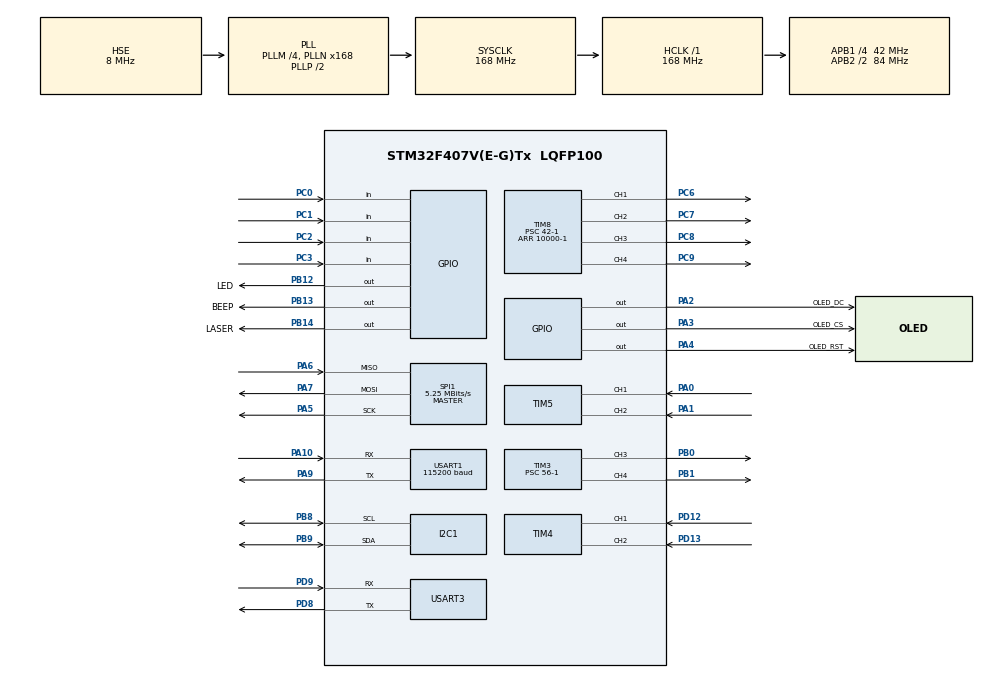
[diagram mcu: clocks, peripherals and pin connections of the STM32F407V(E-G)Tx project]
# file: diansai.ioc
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Dma.Request0=USART1_RX
Dma.Request1=USART1_TX
Dma.Request2=USART3_RX
Dma.USART1_RX.0.Direction=DMA_PERIPH_TO_MEMORY
Dma.USART1_RX.0.FIFOMode=DMA_FIFOMODE_DISABLE
Dma.USART1_RX.0.Instance=DMA2_Stream2
Dma.USART1_RX.0.MemDataAlignment=DMA_MDATAALIGN_BYTE
Dma.USART1_RX.0.MemInc=DMA_MINC_ENABLE
Dma.USART1_RX.0.Mode=DMA_NORMAL
Dma.USART1_RX.0.PeriphDataAlignment=DMA_PDATAALIGN_BYTE
Dma.USART1_RX.0.PeriphInc=DMA_PINC_DISABLE
Dma.USART1_RX.0.Priority=DMA_PRIORITY_LOW
Dma.USART1_TX.1.Direction=DMA_MEMORY_TO_PERIPH
Dma.USART1_TX.1.FIFOMode=DMA_FIFOMODE_DISABLE
Dma.USART1_TX.1.Instance=DMA2_Stream7
Dma.USART1_TX.1.MemDataAlignment=DMA_MDATAALIGN_BYTE
Dma.USART1_TX.1.MemInc=DMA_MINC_ENABLE
Dma.USART1_TX.1.Mode=DMA_NORMAL
Dma.USART1_TX.1.PeriphDataAlignment=DMA_PDATAALIGN_BYTE
Dma.USART1_TX.1.PeriphInc=DMA_PINC_DISABLE
Dma.USART1_TX.1.Priority=DMA_PRIORITY_LOW
Dma.USART3_RX.2.Direction=DMA_PERIPH_TO_MEMORY
Dma.USART3_RX.2.FIFOMode=DMA_FIFOMODE_DISABLE
Dma.USART3_RX.2.Instance=DMA1_Stream1
Dma.USART3_RX.2.MemDataAlignment=DMA_MDATAALIGN_BYTE
Dma.USART3_RX.2.MemInc=DMA_MINC_ENABLE
Dma.USART3_RX.2.Mode=DMA_NORMAL
Dma.USART3_RX.2.PeriphDataAlignment=DMA_PDATAALIGN_BYTE
Dma.USART3_RX.2.PeriphInc=DMA_PINC_DISABLE
Dma.USART3_RX.2.Priority=DMA_PRIORITY_LOW
FREERTOS.BinarySemaphores01=UartRecSem,Dynamic,NULL;CrossSem,Dynamic,NULL
FREERTOS.Tasks01=MotorTask,1,128,StartMotorTask,As weak,NULL,Dynamic,NULL,NULL;OledTask,0,128,StartOledTask,As weak,NULL,Dynamic,NULL,NULL;Uart1Task,1,128,StartUart1Task,As weak,NULL,Dynamic,NULL,NULL;mpu6050,0,128,Startmpu6050,As weak,NULL,Dynamic,NULL,NULL;ServoTask,1,128,StartServoTask,As weak,NULL,Dynamic,NULL,NULL;KeyTask,0,128,StartKeyTask,As weak,NULL,Dynamic,NULL,NULL;LedTask,0,128,StartLedTask,As weak,NULL,Dynamic,NULL,NULL
FREERTOS.configTICK_RATE_HZ=20
I2C1.I2C_Mode=I2C_Fast
Mcu.Family=STM32F4
Mcu.Name=STM32F407V(E-G)Tx
Mcu.Package=LQFP100
NVIC.DMA1_Stream1_IRQn=true\:5\:0\:false\:false\:true\:true\:false\:true
NVIC.DMA2_Stream2_IRQn=true\:5\:0\:false\:false\:true\:true\:true\:true
NVIC.DMA2_Stream7_IRQn=true\:5\:0\:false\:false\:true\:true\:false\:true
NVIC.PriorityGroup=NVIC_PRIORITYGROUP_4
NVIC.TIM1_UP_TIM10_IRQn=true\:15\:0\:false\:false\:true\:false\:false\:true
NVIC.TIM6_DAC_IRQn=true\:5\:0\:false\:false\:true\:true\:true\:true
NVIC.TimeBase=TIM1_UP_TIM10_IRQn
NVIC.TimeBaseIP=TIM1
NVIC.USART1_IRQn=true\:5\:0\:false\:false\:true\:true\:true\:true
NVIC.USART3_IRQn=true\:5\:0\:false\:false\:true\:true\:true\:true
PA0-WKUP.GPIO_PuPd=GPIO_PULLUP
PA0-WKUP.Signal=S_TIM5_CH1
PA1.GPIO_PuPd=GPIO_PULLUP
PA1.Signal=S_TIM5_CH2
PA10.GPIO_PuPd=GPIO_PULLUP
PA10.Mode=Asynchronous
PA10.Signal=USART1_RX
PA13.Mode=Serial_Wire
PA13.Signal=SYS_JTMS-SWDIO
PA14.Mode=Serial_Wire
PA14.Signal=SYS_JTCK-SWCLK
PA2.GPIO_Label=OLED_DC
PA2.GPIO_Speed=GPIO_SPEED_FREQ_HIGH
PA2.PinState=GPIO_PIN_SET
PA2.Signal=GPIO_Output
PA3.GPIO_Label=OLED_CS
PA3.GPIO_Speed=GPIO_SPEED_FREQ_HIGH
PA3.PinState=GPIO_PIN_SET
PA3.Signal=GPIO_Output
PA4.GPIO_Label=OLED_RST
PA4.GPIO_Speed=GPIO_SPEED_FREQ_HIGH
PA4.PinState=GPIO_PIN_SET
PA4.Signal=GPIO_Output
PA5.Mode=Full_Duplex_Master
PA5.Signal=SPI1_SCK
PA6.Mode=Full_Duplex_Master
PA6.Signal=SPI1_MISO
PA7.Mode=Full_Duplex_Master
PA7.Signal=SPI1_MOSI
PA9.Mode=Asynchronous
PA9.Signal=USART1_TX
PB0.Signal=S_TIM3_CH3
PB1.Signal=S_TIM3_CH4
PB12.GPIO_Label=LED
PB12.GPIO_PuPd=GPIO_PULLDOWN
PB12.Signal=GPIO_Output
PB13.GPIO_Label=BEEP
PB13.GPIO_PuPd=GPIO_PULLDOWN
PB13.Signal=GPIO_Output
PB14.GPIO_Label=LASER
PB14.GPIO_PuPd=GPIO_PULLDOWN
PB14.Signal=GPIO_Output
PB8.Mode=I2C
PB8.Signal=I2C1_SCL
PB9.Mode=I2C
PB9.Signal=I2C1_SDA
PC0.GPIO_Mode=GPIO_MODE_INPUT
PC0.GPIO_PuPd=GPIO_PULLUP
PC0.Signal=GPIO_Input
PC1.GPIO_Mode=GPIO_MODE_INPUT
PC1.GPIO_PuPd=GPIO_PULLUP
PC1.Signal=GPIO_Input
PC2.GPIO_Mode=GPIO_MODE_INPUT
PC2.GPIO_PuPd=GPIO_PULLUP
PC2.Signal=GPIO_Input
PC3.GPIO_Mode=GPIO_MODE_INPUT
PC3.GPIO_PuPd=GPIO_PULLUP
PC3.Signal=GPIO_Input
PC6.GPIO_PuPd=GPIO_PULLDOWN
PC6.Signal=S_TIM8_CH1
PC7.GPIO_PuPd=GPIO_PULLDOWN
PC7.Signal=S_TIM8_CH2
PC8.GPIO_PuPd=GPIO_PULLDOWN
PC8.Signal=S_TIM8_CH3
PC9.GPIO_PuPd=GPIO_PULLDOWN
PC9.Signal=S_TIM8_CH4
PD12.GPIO_PuPd=GPIO_PULLUP
PD12.Signal=S_TIM4_CH1
PD13.GPIO_PuPd=GPIO_PULLUP
PD13.Signal=S_TIM4_CH2
PD8.Mode=Asynchronous
PD8.Signal=USART3_TX
PD9.Mode=Asynchronous
PD9.Signal=USART3_RX
PH0-OSC_IN.Mode=HSE-External-Oscillator
PH0-OSC_IN.Signal=RCC_OSC_IN
PH1-OSC_OUT.Mode=HSE-External-Oscillator
PH1-OSC_OUT.Signal=RCC_OSC_OUT
ProjectManager.HeapSize=0x200
ProjectManager.StackSize=0x400
ProjectManager.TargetToolchain=MDK-ARM V5.27
RCC.48MHZClocksFreq_Value=84000000
RCC.AHBFreq_Value=168000000
RCC.APB1CLKDivider=RCC_HCLK_DIV4
RCC.APB1Freq_Value=42000000
RCC.APB1TimFreq_Value=84000000
RCC.APB2CLKDivider=RCC_HCLK_DIV2
RCC.APB2Freq_Value=84000000
RCC.APB2TimFreq_Value=168000000
RCC.CortexFreq_Value=168000000
RCC.HCLKFreq_Value=168000000
RCC.HSE_VALUE=8000000
RCC.HSI_VALUE=16000000
RCC.LSE_VALUE=32768
RCC.PLLM=4
RCC.PLLN=168
RCC.PLLSourceVirtual=RCC_PLLSOURCE_HSE
RCC.SYSCLKFreq_VALUE=168000000
RCC.SYSCLKSource=RCC_SYSCLKSOURCE_PLLCLK
RCC.VCOOutputFreq_Value=336000000
SH.S_TIM3_CH3.0=TIM3_CH3,PWM Generation3 CH3
SH.S_TIM3_CH4.0=TIM3_CH4,PWM Generation4 CH4
SH.S_TIM4_CH1.0=TIM4_CH1,Encoder_Interface
SH.S_TIM4_CH2.0=TIM4_CH2,Encoder_Interface
SH.S_TIM5_CH1.0=TIM5_CH1,Encoder_Interface
SH.S_TIM5_CH2.0=TIM5_CH2,Encoder_Interface
SH.S_TIM8_CH1.0=TIM8_CH1,PWM Generation1 CH1
SH.S_TIM8_CH2.0=TIM8_CH2,PWM Generation2 CH2
SH.S_TIM8_CH3.0=TIM8_CH3,PWM Generation3 CH3
SH.S_TIM8_CH4.0=TIM8_CH4,PWM Generation4 CH4
SPI1.BaudRatePrescaler=SPI_BAUDRATEPRESCALER_16
SPI1.CalculateBaudRate=5.25 MBits/s
SPI1.Direction=SPI_DIRECTION_2LINES
SPI1.Mode=SPI_MODE_MASTER
SPI1.VirtualType=VM_MASTER
TIM3.Channel-PWM\ Generation3\ CH3=TIM_CHANNEL_3
TIM3.Channel-PWM\ Generation4\ CH4=TIM_CHANNEL_4
TIM3.Period=30000-1
TIM3.Prescaler=56-1
TIM4.EncoderMode=TIM_ENCODERMODE_TI12
TIM5.EncoderMode=TIM_ENCODERMODE_TI12
TIM6.AutoReloadPreload=TIM_AUTORELOAD_PRELOAD_ENABLE
TIM6.Period=10000-1
TIM6.Prescaler=168-1
TIM8.Channel-PWM\ Generation1\ CH1=TIM_CHANNEL_1
TIM8.Channel-PWM\ Generation2\ CH2=TIM_CHANNEL_2
TIM8.Channel-PWM\ Generation3\ CH3=TIM_CHANNEL_3
TIM8.Channel-PWM\ Generation4\ CH4=TIM_CHANNEL_4
TIM8.Period=10000-1
TIM8.Prescaler=42-1
USART1.BaudRate=115200
USART1.VirtualMode=VM_ASYNC
USART3.VirtualMode=VM_ASYNC
VP_FREERTOS_VS_CMSIS_V1.Mode=CMSIS_V1
VP_SYS_VS_tim1.Mode=TIM1
VP_TIM3_VS_ClockSourceINT.Mode=Internal
VP_TIM6_VS_ClockSourceINT.Mode=Enable_Timer
VP_TIM8_VS_ClockSourceINT.Mode=Internal
board=custom

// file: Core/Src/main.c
/* USER CODE BEGIN Header */
/**
  ******************************************************************************
  * @file           : main.c
  * @brief          : Main program body
  ******************************************************************************
  * @attention
  *
  * Copyright (c) 2023 STMicroelectronics.
  * All rights reserved.
  *
  * This software is licensed under terms that can be found in the LICENSE file
  * in the root directory of this software component.
  * If no LICENSE file comes with this software, it is provided AS-IS.
  *
  ******************************************************************************
  */
/* USER CODE END Header */
#include "main.h"
#include "cmsis_os.h"
#include "dma.h"
#include "i2c.h"
#include "spi.h"
#include "tim.h"
#include "usart.h"
#include "gpio.h"

/* USER CODE BEGIN Includes */
#include "mpu6050.h"
#include "oled.h"
#include "pid.h"
#include "24l01.h"

//#include "mpu6050.h"
//#include "delay.h"
//#include "eMPL/inv_mpu.h"
//#include "eMPL/inv_mpu_dmp_motion_driver.h"

/* USER CODE END Includes */

void SystemClock_Config(void);
void MX_FREERTOS_Init(void);

int main(void)
{

  /* MCU Configuration--------------------------------------------------------*/

  /* Reset of all peripherals, Initializes the Flash interface and the Systick. */
  HAL_Init();

  /* Configure the system clock */
  SystemClock_Config();

  /* Initialize all configured peripherals */
  MX_GPIO_Init();
  MX_SPI1_Init();
  MX_TIM8_Init();
  MX_TIM4_Init();
  MX_USART1_UART_Init();
  MX_I2C1_Init();
  MX_TIM5_Init();
  MX_DMA_Init();
  MX_TIM6_Init();
  MX_TIM3_Init();
  MX_USART3_UART_Init();
  /* USER CODE BEGIN 2 */
	//MX_USART1_UART_Init和MX_DMA_Init位置需改变
	HAL_TIM_PWM_Start(&htim8,TIM_CHANNEL_1);
	HAL_TIM_PWM_Start(&htim8,TIM_CHANNEL_2);
	HAL_TIM_PWM_Start(&htim8,TIM_CHANNEL_3);
	HAL_TIM_PWM_Start(&htim8,TIM_CHANNEL_4);
	HAL_TIM_PWM_Start(&htim3,TIM_CHANNEL_3);
	HAL_TIM_PWM_Start(&htim3,TIM_CHANNEL_4);
	TIM3->CCR3 = 1400;//1584下 增大逆时针 1450右90 3400左90度
	TIM3->CCR4 = 2500;//2688上 900-2400 增大逆时针-固定端靠近一侧的视角
	HAL_TIM_Encoder_Start(&htim5,TIM_CHANNEL_1 | TIM_CHANNEL_2);
	HAL_TIM_Encoder_Start(&htim4,TIM_CHANNEL_1 | TIM_CHANNEL_2);
//	HAL_TIM_Base_Start_IT(&htim6);
	OLED_Init();
	HAL_GPIO_WritePin(LASER_GPIO_Port,LASER_Pin,GPIO_PIN_SET);
//	while (MPU6050_Init(&hi2c1) == 1){};

//	NRF24L01_Init();
//	while(NRF24L01_Check());
//	RX_Mode();

  /* USER CODE END 2 */

  /* Call init function for freertos objects (in freertos.c) */
  MX_FREERTOS_Init();
  /* Start scheduler */
  osKernelStart();

  /* We should never get here as control is now taken by the scheduler */
  /* Infinite loop */
  while (1)
  {

  }
}

void SystemClock_Config(void)
{
  RCC_OscInitTypeDef RCC_OscInitStruct = {0};
  RCC_ClkInitTypeDef RCC_ClkInitStruct = {0};

  /** Configure the main internal regulator output voltage
  */
  __HAL_RCC_PWR_CLK_ENABLE();
  __HAL_PWR_VOLTAGESCALING_CONFIG(PWR_REGULATOR_VOLTAGE_SCALE1);
  /** Initializes the RCC Oscillators according to the specified parameters
  * in the RCC_OscInitTypeDef structure.
  */
  RCC_OscInitStruct.OscillatorType = RCC_OSCILLATORTYPE_HSE;
  RCC_OscInitStruct.HSEState = RCC_HSE_ON;
  RCC_OscInitStruct.PLL.PLLState = RCC_PLL_ON;
  RCC_OscInitStruct.PLL.PLLSource = RCC_PLLSOURCE_HSE;
  RCC_OscInitStruct.PLL.PLLM = 4;
  RCC_OscInitStruct.PLL.PLLN = 168;
  RCC_OscInitStruct.PLL.PLLP = RCC_PLLP_DIV2;
  RCC_OscInitStruct.PLL.PLLQ = 4;
  if (HAL_RCC_OscConfig(&RCC_OscInitStruct) != HAL_OK)
  {
    Error_Handler();
  }
  /** Initializes the CPU, AHB and APB buses clocks
  */
  RCC_ClkInitStruct.ClockType = RCC_CLOCKTYPE_HCLK|RCC_CLOCKTYPE_SYSCLK
                              |RCC_CLOCKTYPE_PCLK1|RCC_CLOCKTYPE_PCLK2;
  RCC_ClkInitStruct.SYSCLKSource = RCC_SYSCLKSOURCE_PLLCLK;
  RCC_ClkInitStruct.AHBCLKDivider = RCC_SYSCLK_DIV1;
  RCC_ClkInitStruct.APB1CLKDivider = RCC_HCLK_DIV4;
  RCC_ClkInitStruct.APB2CLKDivider = RCC_HCLK_DIV2;

  if (HAL_RCC_ClockConfig(&RCC_ClkInitStruct, FLASH_LATENCY_5) != HAL_OK)
  {
    Error_Handler();
  }
}

void HAL_TIM_PeriodElapsedCallback(TIM_HandleTypeDef *htim)
{
  if (htim->Instance == TIM1) {
    HAL_IncTick();
  }
  /* USER CODE BEGIN Callback 1 */
//	if (htim->Instance == TIM6) {
//		PID_Loc(pid1,
//	}
  /* USER CODE END Callback 1 */
}

void Error_Handler(void)
{
  __disable_irq();
  while (1)
  {
  }
}

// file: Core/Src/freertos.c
/* USER CODE BEGIN Header */
/**
  ******************************************************************************
  * File Name          : freertos.c
  * Description        : Code for freertos applications
  ******************************************************************************
  * @attention
  *
  * Copyright (c) 2023 STMicroelectronics.
  * All rights reserved.
  *
  * This software is licensed under terms that can be found in the LICENSE file
  * in the root directory of this software component.
  * If no LICENSE file comes with this software, it is provided AS-IS.
  *
  ******************************************************************************
  */
/* USER CODE END Header */

#include "FreeRTOS.h"
#include "task.h"
#include "main.h"
#include "cmsis_os.h"

/* USER CODE BEGIN Includes */
#include "stdio.h"
#include "string.h"
#include "pid.h"
#include "usart.h"
#include "mpu6050.h"
#include "oled.h"
#include "motor.h"
#include "bsp_uart.h"
#include "encoder.h"
#include "mpu6050.h"
#include "key.h"
#include "control.h"
//#include "delay.h"
//#include "eMPL/inv_mpu.h"
//#include "eMPL/inv_mpu_dmp_motion_driver.h"

/* USER CODE END Includes */

/* USER CODE BEGIN Variables */

/*Structrue*/
Motor_t motor;
Encoder_t encoder;
MPU6050_t MPU6050;

pid_t pid_SERVOX;
pid_t pid_SERVOY;
pid_t pid_POINT;
pid_t pid_POINTX;
pid_t pid_POINTY;
Servo_t servo;
Point_t pos,LU,LD,RU,RD;

/*flag*/
uint8_t delay_flag = 0;
uint8_t rec_flag = 0;
uint8_t rec_ok_flag = 0;
uint8_t rx_ack = 0;
uint8_t task = 0;
uint8_t pause_flag = 0;
uint8_t reset_flag = 0;
uint8_t point_state = 0;

/*control*/
int Encoder_All_L = 0;
int Encoder_All_R = 0;
int dir_error = 0;
float angle = 0;
float servo_hori_error = 0;
float servo_vert_error = 0;

float servo_hori_all = 1400;
float servo_vert_all = 2500;
uint16_t servo_midx = 0;
uint16_t servo_midy = 0;
uint16_t servo_savex = 0;
uint16_t servo_savey = 0;
/*point*/

/*uart*/
uint8_t rx_len = 0;
uint8_t RxBuffer[255];

/* USER CODE END Variables */
osThreadId MotorTaskHandle;
osThreadId OledTaskHandle;
osThreadId Uart1TaskHandle;
osThreadId mpu6050Handle;
osThreadId ServoTaskHandle;
osThreadId KeyTaskHandle;
osThreadId LedTaskHandle;
osSemaphoreId UartRecSemHandle;
osSemaphoreId CrossSemHandle;

void StartMotorTask(void const * argument);
void StartOledTask(void const * argument);
void StartUart1Task(void const * argument);
void Startmpu6050(void const * argument);
void StartServoTask(void const * argument);
void StartKeyTask(void const * argument);
void StartLedTask(void const * argument);

void MX_FREERTOS_Init(void); /* (MISRA C 2004 rule 8.1) */

/* GetIdleTaskMemory prototype (linked to static allocation support) */
void vApplicationGetIdleTaskMemory( StaticTask_t **ppxIdleTaskTCBBuffer, StackType_t **ppxIdleTaskStackBuffer, uint32_t *pulIdleTaskStackSize );

/* USER CODE BEGIN GET_IDLE_TASK_MEMORY */
static StaticTask_t xIdleTaskTCBBuffer;
static StackType_t xIdleStack[configMINIMAL_STACK_SIZE];

void vApplicationGetIdleTaskMemory( StaticTask_t **ppxIdleTaskTCBBuffer, StackType_t **ppxIdleTaskStackBuffer, uint32_t *pulIdleTaskStackSize )
{
  *ppxIdleTaskTCBBuffer = &xIdleTaskTCBBuffer;
  *ppxIdleTaskStackBuffer = &xIdleStack[0];
  *pulIdleTaskStackSize = configMINIMAL_STACK_SIZE;
  /* place for user code */
}
/* USER CODE END GET_IDLE_TASK_MEMORY */

void MX_FREERTOS_Init(void) {
  /* USER CODE BEGIN Init */
	PID_SERVOX_Init(&pid_SERVOX);
	PID_SERVOX_Init(&pid_SERVOY);
	PID_SERVO_POINT_Init(&pid_POINT);
	PID_SERVO_POINTX_Init(&pid_POINTX);
	PID_SERVO_POINTY_Init(&pid_POINTY);
	MotorInit(&motor);
	Encoder_Init(&encoder);
  /* USER CODE END Init */

  /* Create the semaphores(s) */
  /* definition and creation of UartRecSem */
  osSemaphoreDef(UartRecSem);
  UartRecSemHandle = osSemaphoreCreate(osSemaphore(UartRecSem), 1);

  /* definition and creation of CrossSem */
  osSemaphoreDef(CrossSem);
  CrossSemHandle = osSemaphoreCreate(osSemaphore(CrossSem), 1);

  /* USER CODE BEGIN RTOS_SEMAPHORES */
  /* add semaphores, ... */
	//osSemaphoreWait(UartRecSemHandle,100);
	osSemaphoreWait(UartRecSemHandle,100);
  /* USER CODE END RTOS_SEMAPHORES */

  /* Create the thread(s) */
  /* definition and creation of MotorTask */
  osThreadDef(MotorTask, StartMotorTask, osPriorityAboveNormal, 0, 128);
  MotorTaskHandle = osThreadCreate(osThread(MotorTask), NULL);

  /* definition and creation of OledTask */
  osThreadDef(OledTask, StartOledTask, osPriorityNormal, 0, 128);
  OledTaskHandle = osThreadCreate(osThread(OledTask), NULL);

  /* definition and creation of Uart1Task */
  osThreadDef(Uart1Task, StartUart1Task, osPriorityAboveNormal, 0, 128);
  Uart1TaskHandle = osThreadCreate(osThread(Uart1Task), NULL);

  /* definition and creation of mpu6050 */
  osThreadDef(mpu6050, Startmpu6050, osPriorityNormal, 0, 128);
  mpu6050Handle = osThreadCreate(osThread(mpu6050), NULL);

  /* definition and creation of ServoTask */
  osThreadDef(ServoTask, StartServoTask, osPriorityAboveNormal, 0, 128);
  ServoTaskHandle = osThreadCreate(osThread(ServoTask), NULL);

  /* definition and creation of KeyTask */
  osThreadDef(KeyTask, StartKeyTask, osPriorityNormal, 0, 128);
  KeyTaskHandle = osThreadCreate(osThread(KeyTask), NULL);

  /* definition and creation of LedTask */
  osThreadDef(LedTask, StartLedTask, osPriorityNormal, 0, 128);
  LedTaskHandle = osThreadCreate(osThread(LedTask), NULL);

}

__weak void StartMotorTask(void const * argument)
{
  /* USER CODE BEGIN StartMotorTask */
	int v1,v2;
	static int i = 0;

  /* Infinite loop */
  for(;;)
  {
//		Encoder_All_L += encoder.Left;
//		Encoder_All_R += encoder.Right;
//		EncoderGet(&encoder);
////			UART_SendToAnon(encoder.Left);

//			MotorCtrl((int)v1,(int)v2);

    osDelay(10);
  }
  /* USER CODE END StartMotorTask */
}

__weak void StartOledTask(void const * argument)
{
  /* USER CODE BEGIN StartOledTask */
	char txt[30];

  /* Infinite loop */
  for(;;)
  {
//		taskENTER_CRITICAL();
		sprintf(txt,"reset:%d",reset_flag);
		OLED_ShowString(0,2,txt);
		sprintf(txt,"pause:%d",pause_flag);
		OLED_ShowString(0,4,txt);
		sprintf(txt,"task:%d",task);
		OLED_ShowString(0,6,txt);
//		taskEXIT_CRITICAL();
    osDelay(100);

  }
  /* USER CODE END StartOledTask */
}

__weak void StartUart1Task(void const * argument)
{
  /* USER CODE BEGIN StartUart1Task */

	//注意初始化更改位置
	char txt[40];
	__HAL_UART_ENABLE_IT(&huart3,UART_IT_IDLE);
	HAL_UART_Receive_DMA(&huart3,(uint8_t *)RxBuffer,255);

  /* Infinite loop */
  for(;;)
  {
		osSemaphoreWait(UartRecSemHandle,portMAX_DELAY);
		//taskENTER_CRITICAL();

//		HAL_UART_Transmit(&huart1,RxBuffer,rx_len,100);

//		OLED_ShowString(0,6,RxBuffer);
		if(RxBuffer[0]==0x12)
		{
			OLED_ShowString(0,0,"ok");
			SERVOY = RxBuffer[1]<<8|RxBuffer[2];
		}
		if(RxBuffer[0]==0x13)
		{
			OLED_ShowString(0,0,"ok");
			SERVOX = RxBuffer[1]<<8|RxBuffer[2];
		}
		if(RxBuffer[0]==0xA1 && RxBuffer[rx_len-1]==0x1A)
		{
			if(RxBuffer[1] == 0x11)
			{
				if(task == 1)
				{
					servo_midx = SERVOX;
					servo_midy = SERVOY;
				}
				rec_ok_flag = 1;
			}
			if(RxBuffer[1] == 0x33)
			{
				rx_ack = 1;
			}
			if(RxBuffer[1] == 0x44)
			{
				point_state++;
				sprintf(txt,"point_num%d",point_state);
				OLED_ShowString(0,0,txt);
			}

			else if(RxBuffer[1] == 0x02)
			{
				if(RxBuffer[2] == 1)
					servo_hori_error = -RxBuffer[3];
				else
					servo_hori_error = RxBuffer[3];
				if(RxBuffer[4] == 1)
					servo_vert_error = -RxBuffer[5];
				else
					servo_vert_error = RxBuffer[5];
//				if(servo_hori_error < 2)
//					servo_hori_error /= 2.0;
//				if(servo_vert_error < 2)
//					servo_vert_error /= 2.0;
				rec_flag = 1;
			}

//			else if(RxBuffer[1] == 0x03)
//			{
//				OLED_ShowString(0,4,"--------");
//				if(RxBuffer[2] == 3)
//				{
//					if(RxBuffer[3]==0) servo_vert_error = RxBuffer[4];
//					else if(RxBuffer[3]==1) servo_vert_error = -RxBuffer[4];
//					if(RxBuffer[5]==0) servo_hori_error = RxBuffer[6];
//					else if(RxBuffer[5]==1) servo_hori_error = -RxBuffer[6];
//					if(RxBuffer[7]==0) servo_vert_error += RxBuffer[8]/2 + 80;
//					else if(RxBuffer[7]==1) servo_vert_error += -RxBuffer[8]/2 + 80;
//					if(RxBuffer[9]==0) servo_hori_error += RxBuffer[10]/2 + 80;
//					else if(RxBuffer[9]==1) servo_hori_error += -RxBuffer[10]/2 + 80;
//					sprintf(txt,"  cross:%d  ",servo_vert_error);
//					OLED_ShowString(0,0,txt);
//					sprintf(txt,"  dir:%d  ",servo_hori_error);
//					OLED_ShowString(0,2,txt);
//				}
//			}
		}

//		sprintf(txt,"%d",rx_len);
//		OLED_ShowString(0,6,(uint8_t *)txt);

		//taskEXIT_CRITICAL();

    osDelay(1);
  }
  /* USER CODE END StartUart1Task */
}

__weak void Startmpu6050(void const * argument)
{
  /* USER CODE BEGIN Startmpu6050 */
	char txt[10];
//	while(MPU_Init());
//	while(mpu_dmp_init());
  /* Infinite loop */
  for(;;)
  {

//		MPU6050_Read_All(&hi2c1, &MPU6050);
//		if(MPU6050.Gz<0.5&&MPU6050.Gz>-0.5)
//			MPU6050.Gz = 0;
//		yaw += MPU6050.Gz/7000*360;

    osDelay(10);
  }
  /* USER CODE END Startmpu6050 */
}

__weak void StartServoTask(void const * argument)
{
  /* USER CODE BEGIN StartServoTask */
	static int servo_val = 500;
	static uint16_t step_task2 = 0;
	static int i;
	char txt[20];
  /* Infinite loop */
  for(;;)
  {
		if(pause_flag == 1)
		{

		}
		else if(reset_flag == 1)
		{
//			if(rec_flag ==1)
//			{
//				rec_flag = 0;
//				servo_hori_all += PID_SERVO(&pid_POINTX,-servo_hori_error);
//				servo_vert_all += PID_SERVO(&pid_POINTY,-servo_vert_error);
//				SERVOX = (uint16_t)servo_hori_all;
//				SERVOY = (uint16_t)servo_vert_all;
//			}
//			if(rec_ok_flag == 1)
//				reset_flag = 0;
		}
		else if(task == 1 && rec_ok_flag == 0)
		{
			if(rx_ack == 0)
				HAL_UART_Transmit(&huart3,"1",1,100);
			if(rec_flag ==1)
			{
				rec_flag = 0;
				servo_hori_all += PID_SERVO(&pid_POINTX,-servo_hori_error);
				servo_vert_all += PID_SERVO(&pid_POINTY,-servo_vert_error);
				SERVOX = (uint16_t)servo_hori_all;
				SERVOY = (uint16_t)servo_vert_all;
			}
		}
		else if(task == 2 && rec_ok_flag == 0)
		{
			if(rx_ack == 0)
				HAL_UART_Transmit(&huart3,"2",1,100);
			if(rec_flag == 1)
			{
				rec_flag = 0;
//				if(abs(servo_hori_error)<=1) servo_hori_error=0;
//				if(abs(servo_vert_error)<=1) servo_vert_error=0;
				servo_hori_all += PID_SERVO(&pid_SERVOX,-servo_hori_error);
				servo_vert_all += PID_SERVO(&pid_SERVOY,-servo_vert_error);
				SERVOX = (uint16_t)servo_hori_all;
				SERVOY = (uint16_t)servo_vert_all;
			}
		}
		else if(task == 3 && rec_ok_flag == 0)
		{
			if(rx_ack == 0)
				HAL_UART_Transmit(&huart3,"3",1,100);
			if(rec_flag == 1)
			{
				rec_flag = 0;
				servo_hori_all += PID_SERVO(&pid_SERVOX,-servo_hori_error);
				servo_vert_all += PID_SERVO(&pid_SERVOY,-servo_vert_error);
				SERVOX = (uint16_t)servo_hori_all;
				SERVOY = (uint16_t)servo_vert_all;
			}
		}
		else if(task == 4 && rec_ok_flag == 0)
		{
			if(rx_ack == 0)
				HAL_UART_Transmit(&huart3,"4",1,100);
			if(rec_flag == 1)
			{
				rec_flag = 0;
				servo_hori_all += PID_SERVO(&pid_SERVOX,-servo_hori_error);
				servo_vert_all += PID_SERVO(&pid_SERVOY,-servo_vert_error);
				SERVOX = (uint16_t)servo_hori_all;
				SERVOY = (uint16_t)servo_vert_all;
			}
		}
		else if(task == 5 && rec_ok_flag == 0)
		{
			if(rx_ack == 0)
				HAL_UART_Transmit(&huart3,"3",1,100);
			if(rec_flag == 1)
			{
				rec_flag = 0;
				servo_hori_all += PID_SERVO(&pid_SERVOX,-servo_hori_error);
				servo_vert_all += PID_SERVO(&pid_SERVOY,-servo_vert_error);
				SERVOX = (uint16_t)servo_hori_all;
				SERVOY = (uint16_t)servo_vert_all;
			}
		}
		else if(task == 6 && rec_ok_flag == 0)
		{
			if(rx_ack == 0)
				HAL_UART_Transmit(&huart3,"4",1,100);
			if(rec_flag == 1)
			{
				rec_flag = 0;
				servo_hori_all += PID_SERVO(&pid_SERVOX,-servo_hori_error);
				servo_vert_all += PID_SERVO(&pid_SERVOY,-servo_vert_error);
				SERVOX = (uint16_t)servo_hori_all;
				SERVOY = (uint16_t)servo_vert_all;
			}
		}
		else if(task == 7 && rec_ok_flag == 0)
		{
			if(rx_ack == 0)
				HAL_UART_Transmit(&huart3,"3",1,100);
			if(rec_flag == 1)
			{
				rec_flag = 0;
				servo_hori_all += PID_SERVO(&pid_SERVOX,-servo_hori_error);
				servo_vert_all += PID_SERVO(&pid_SERVOY,-servo_vert_error);
				SERVOX = (uint16_t)servo_hori_all;
				SERVOY = (uint16_t)servo_vert_all;
			}
		}
		else if(task == 8 && rec_ok_flag == 0)
		{
			if(rx_ack == 0)
				HAL_UART_Transmit(&huart3,"4",1,100);
			if(rec_flag == 1)
			{
				rec_flag = 0;
				servo_hori_all += PID_SERVO(&pid_SERVOX,-servo_hori_error);
				servo_vert_all += PID_SERVO(&pid_SERVOY,-servo_vert_error);
				SERVOX = (uint16_t)servo_hori_all;
				SERVOY = (uint16_t)servo_vert_all;
			}
		}
		else if(task == 9 && rec_ok_flag == 0)
		{
			if(rx_ack == 0)
				HAL_UART_Transmit(&huart3,"3",1,100);
			if(rec_flag == 1)
			{
				rec_flag = 0;
				servo_hori_all += PID_SERVO(&pid_SERVOX,-servo_hori_error);
				servo_vert_all += PID_SERVO(&pid_SERVOY,-servo_vert_error);
				SERVOX = (uint16_t)servo_hori_all;
				SERVOY = (uint16_t)servo_vert_all;
			}
		}
		else if(task == 10 && rec_ok_flag == 0)
		{
			if(rx_ack == 0)
				HAL_UART_Transmit(&huart3,"4",1,100);
			if(rec_flag == 1)
			{
				rec_flag = 0;
				servo_hori_all += PID_SERVO(&pid_SERVOX,-servo_hori_error);
				servo_vert_all += PID_SERVO(&pid_SERVOY,-servo_vert_error);
				SERVOX = (uint16_t)servo_hori_all;
				SERVOY = (uint16_t)servo_vert_all;
			}
		}

		osDelay(10);

  }
  /* USER CODE END StartServoTask */
}

__weak void StartKeyTask(void const * argument)
{
  /* USER CODE BEGIN StartKeyTask */
  /* Infinite loop */
  for(;;)
  {
		switch(Key_Scan())
		{
			case 1:
//				HAL_UART_Transmit(&huart3,"1",1,100);
//				reset_flag = 1;

				servo_hori_all = servo_midx;
				servo_vert_all = servo_midy;
				SERVOX = (uint16_t)servo_hori_all;
				SERVOY = (uint16_t)servo_vert_all;

//				reset_flag ^= 1;
//				if(reset_flag == 1)
//				{
////					HAL_UART_Transmit(&huart1,"r",1,100);
//					servo_savex = SERVOX;
//					servo_savey = SERVOY;
//				}
//				else
//				{
////					HAL_UART_Transmit(&huart1,"R",1,100);
//					servo_hori_all = servo_savex;
//					servo_vert_all = servo_savey;
//					SERVOX = (uint16_t)servo_hori_all;
//					SERVOY = (uint16_t)servo_vert_all;
//				}
				break;
			case 2:
				pause_flag ^= 1;
//				if(pause_flag == 1)
//					HAL_UART_Transmit(&huart1,"p",1,100);
//				else
//					HAL_UART_Transmit(&huart1,"P",1,100);
				break;
			case 4:
				task ++;
				rec_ok_flag = 0;
				rx_ack = 0;
				break;
			case 3:
				if(point_state<5)
					HAL_UART_Transmit(&huart3,"9",1,100);
				else
				{
					rec_ok_flag = 0;
					rx_ack = 0;
				}
				break;
			default:break;
		}
    osDelay(1);
  }
  /* USER CODE END StartKeyTask */
}

__weak void StartLedTask(void const * argument)
{
  /* USER CODE BEGIN StartLedTask */
  /* Infinite loop */
  for(;;)
  {
//		HAL_GPIO_WritePin(LED_GPIO_Port,LED_Pin,GPIO_PIN_SET);
//		HAL_GPIO_WritePin(BEEP_GPIO_Port,BEEP_Pin,GPIO_PIN_SET);
    osDelay(1);
  }
  /* USER CODE END StartLedTask */
}
